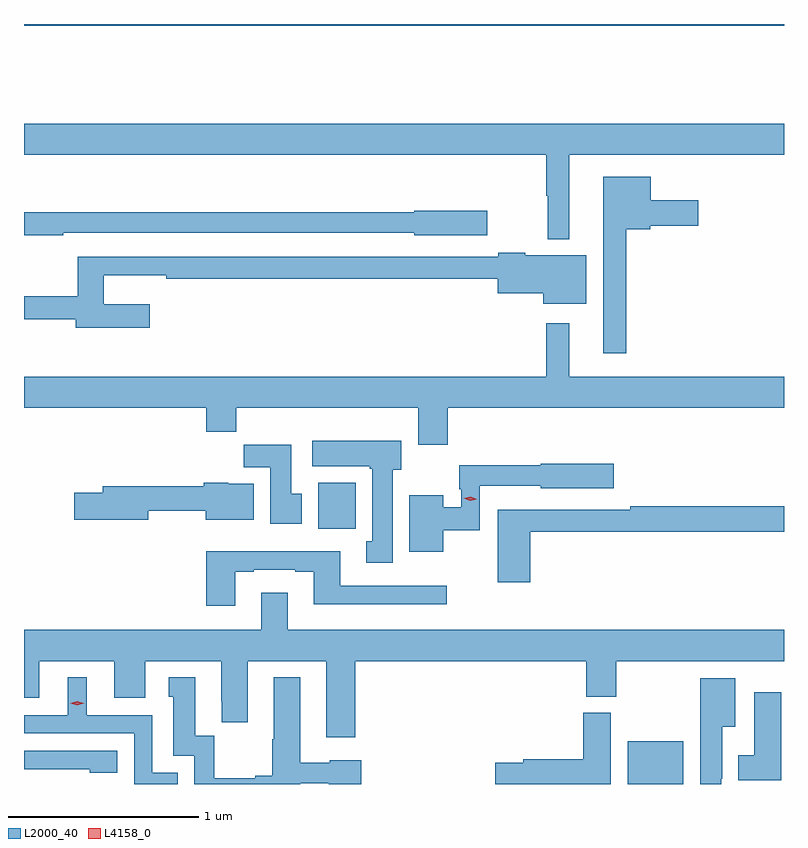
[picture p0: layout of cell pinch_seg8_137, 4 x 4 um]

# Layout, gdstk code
import gdstk
lib = gdstk.Library(unit=1e-6, precision=1e-09)
def R(c, l, rs):  # rectangles x0, y0, x1, y1
    for r in rs: c.add(gdstk.rectangle(r[:2], r[2:], *l))
def P(c, l, *ps):  # polygons
    for p in ps: c.add(gdstk.Polygon(p, *l))
L2000_40 = (2000, 40)
L4158_0 = (4158, 0)

pinch_seg8_137 = lib.new_cell('pinch_seg8_137')
R(pinch_seg8_137, L2000_40, [(772.976,1150.485,773.269,1150.711), (771.347,1151.828,771.544,1152.07), (769.799,1154.476,773.799,1154.485)])
P(pinch_seg8_137, L2000_40, [(772.669,1153.796),(773.799,1153.796),(773.799,1153.96),(769.799,1153.96),(769.799,1153.796),(772.548,1153.796),(772.548,1153.58),(772.555,1153.58),(772.555,1153.352),(772.669,1153.352)],
  [(772.969,1153.406),(773.094,1153.406),(773.094,1153.424),(773.347,1153.424),(773.347,1153.558),(773.098,1153.558),(773.098,1153.681),(772.847,1153.681),(772.847,1152.753),(772.969,1152.753)],
  [(772.237,1153.503),(771.852,1153.503),(771.852,1153.495),(769.799,1153.495),(769.799,1153.374),(770.006,1153.374),(770.006,1153.386),(771.852,1153.386),(771.852,1153.373),(772.237,1153.373)],
  [(770.461,1153.009),(770.219,1153.009),(770.219,1153.163),(770.548,1153.163),(770.548,1153.144),(772.292,1153.144),(772.292,1153.067),(772.532,1153.067),(772.532,1153.013),(772.759,1153.013),(772.759,1153.267),(772.436,1153.267),(772.436,1153.28),(772.296,1153.28),(772.296,1153.26),(770.083,1153.26),(770.083,1153.051),(769.799,1153.051),(769.799,1152.93),(770.072,1152.93),(770.072,1152.887),(770.461,1152.887)],
  [(772.028,1152.464),(773.799,1152.464),(773.799,1152.628),(772.669,1152.628),(772.669,1152.91),(772.548,1152.91),(772.548,1152.628),(769.799,1152.628),(769.799,1152.464),(770.759,1152.464),(770.759,1152.34),(770.915,1152.34),(770.915,1152.464),(771.875,1152.464),(771.875,1152.27),(772.028,1152.27)],
  [(771.739,1152.138),(771.784,1152.138),(771.784,1152.292),(771.315,1152.292),(771.315,1152.158),(771.619,1152.158),(771.619,1152.145),(771.632,1152.145),(771.632,1151.762),(771.599,1151.762),(771.599,1151.649),(771.739,1151.649)],
  [(771.262,1152.012),(771.205,1152.012),(771.205,1152.271),(770.956,1152.271),(770.956,1152.152),(771.095,1152.152),(771.095,1151.856),(771.262,1151.856)],
  [(772.006,1151.82),(772.197,1151.82),(772.197,1152.054),(772.518,1152.054),(772.518,1152.041),(772.903,1152.041),(772.903,1152.171),(772.518,1152.171),(772.518,1152.163),(772.089,1152.163),(772.089,1152.036),(772.101,1152.036),(772.101,1151.941),(772.006,1151.941),(772.006,1152.004),(771.827,1152.004),(771.827,1151.708),(772.006,1151.708)],
  [(770.452,1151.923),(770.756,1151.923),(770.756,1151.876),(771.007,1151.876),(771.007,1152.064),(770.874,1152.064),(770.874,1152.07),(770.744,1152.07),(770.744,1152.052),(770.213,1152.052),(770.213,1152.018),(770.064,1152.018),(770.064,1151.876),(770.452,1151.876)],
  [(772.463,1151.812),(773.799,1151.812),(773.799,1151.948),(772.99,1151.948),(772.99,1151.928),(772.292,1151.928),(772.292,1151.547),(772.463,1151.547)],
  [(770.911,1151.601),(771.007,1151.601),(771.007,1151.613),(771.227,1151.613),(771.227,1151.601),(771.323,1151.601),(771.323,1151.432),(772.024,1151.432),(772.024,1151.529),(771.463,1151.529),(771.463,1151.71),(770.759,1151.71),(770.759,1151.424),(770.911,1151.424)],
  [(771.542,1151.132),(772.757,1151.132),(772.757,1150.945),(772.917,1150.945),(772.917,1151.132),(773.799,1151.132),(773.799,1151.296),(771.187,1151.296),(771.187,1151.491),(771.047,1151.491),(771.047,1151.296),(769.799,1151.296),(769.799,1150.938),(769.879,1150.938),(769.879,1151.132),(770.273,1151.132),(770.273,1150.938),(770.437,1150.938),(770.437,1151.132),(770.837,1151.132),(770.837,1150.921),(770.84,1150.921),(770.84,1150.809),(770.977,1150.809),(770.977,1151.132),(771.389,1151.132),(771.389,1150.731),(771.542,1150.731)],
  [(770.609,1150.545),(770.475,1150.545),(770.475,1150.848),(770.128,1150.848),(770.128,1151.047),(770.03,1151.047),(770.03,1150.848),(769.799,1150.848),(769.799,1150.752),(770.379,1150.752),(770.379,1150.485),(770.609,1150.485)],
  [(771.253,1150.488),(771.404,1150.488),(771.404,1150.485),(771.575,1150.485),(771.575,1150.609),(771.408,1150.609),(771.408,1150.597),(771.253,1150.597),(771.253,1151.047),(771.113,1151.047),(771.113,1150.721),(771.106,1150.721),(771.106,1150.529),(771.017,1150.529),(771.017,1150.516),(770.799,1150.516),(770.799,1150.739),(770.701,1150.739),(770.701,1151.047),(770.561,1151.047),(770.561,1150.944),(770.585,1150.944),(770.585,1150.635),(770.694,1150.635),(770.694,1150.485),(771.253,1150.485)],
  [(773.469,1150.513),(773.473,1150.513),(773.473,1150.787),(773.542,1150.787),(773.542,1151.041),(773.357,1151.041),(773.357,1150.485),(773.469,1150.485)],
  [(773.785,1150.969),(773.642,1150.969),(773.642,1150.636),(773.558,1150.636),(773.558,1150.505),(773.785,1150.505)],
  [(772.888,1150.86),(772.742,1150.86),(772.742,1150.616),(772.426,1150.616),(772.426,1150.596),(772.28,1150.596),(772.28,1150.485),(772.888,1150.485)],
  [(770.29,1150.659),(769.799,1150.659),(769.799,1150.563),(769.909,1150.563),(769.909,1150.562),(770.145,1150.562),(770.145,1150.544),(770.29,1150.544)])
P(pinch_seg8_137, L4158_0, [(772.148,1151.976),(772.113,1151.988),(772.113,1151.988),(772.113,1151.989),(772.149,1151.996),(772.183,1151.984),(772.183,1151.984),(772.183,1151.984)],
  [(770.079,1150.9),(770.043,1150.91),(770.043,1150.91),(770.043,1150.91),(770.079,1150.92),(770.114,1150.91),(770.115,1150.91),(770.114,1150.91)])

lib.write_gds('pinch_seg8_137.gds')
